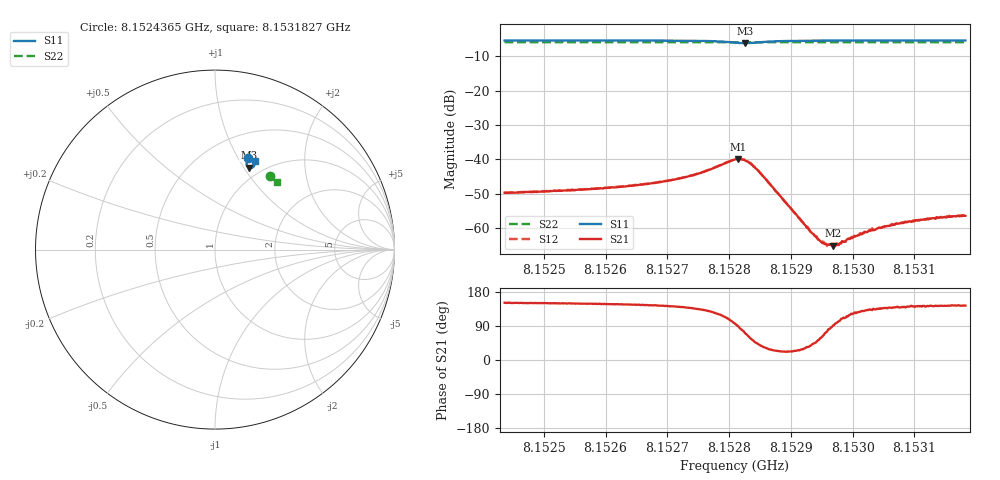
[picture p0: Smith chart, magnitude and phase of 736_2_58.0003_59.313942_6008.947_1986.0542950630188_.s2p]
#  HZ  S  RI  R  50.00
! Rohde & Schwarz Vector Network Analyzer
! Rohde-Schwarz,ZNB20-2Port,1311601062101988,3.16
! Created: UTC 3/21/2024, 1:23:17 AM
! freq[Hz]  re:S11  im:S11  re:S21  im:S21  re:S12  im:S12  re:S22  im:S22
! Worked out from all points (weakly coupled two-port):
!   401 points, 8.1524365 GHz to 8.1531827 GHz, reference 50 ohm
!   highest |S21| = -39.92 dB at 8.1528152 GHz (marker M1); lowest = -65.2 dB at 8.1529682 GHz (marker M2)
!   lowest |S11| = -6.1 dB at 8.1528264 GHz (marker M3), VSWR 2.95, Z = 43.6 + j52.6 ohm
!   |S11| at or under -10 dB: nowhere
!   |S22| runs from -5.9 to -5.8 dB; largest |S21 - S12| = 0.00039
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8.15243653e9  0.1849 0.5076  -0.00285 0.00158  -0.00284 0.00164  0.3074 0.4085
8.15256151e9  0.1949 0.5038  -0.00307 0.00187  -0.00308 0.00194  0.3136 0.4033
8.15268648e9  0.2071 0.4974  -0.00371 0.00274  -0.00372 0.00286  0.3198 0.3983
8.15275177e9  0.2162 0.488  -0.00434 0.0045  -0.00433 0.00459  0.323 0.3952
8.1528096e9  0.2088 0.457  -0.00108 0.00993  -0.000787 0.00989  0.3251 0.392
8.15281519e9  0.2027 0.4546  0.000301 0.0101  0.000571 0.01  0.3252 0.3919
8.15282639e9  0.1882 0.4561  0.00328 0.00897  0.00339 0.00901  0.3251 0.3915
8.15283385e9  0.1807 0.4623  0.00459 0.00747  0.00478 0.00746  0.3253 0.3917
8.15284504e9  0.1761 0.4739  0.00511 0.00502  0.0052 0.00491  0.3259 0.3916
8.15293458e9  0.1995 0.4981  0.000625 0.000555  0.00064 0.000534  0.3312 0.3885
8.15294763e9  0.2017 0.4981  0.000337 0.000544  0.000351 0.00054  0.3318 0.388
8.1529551e9  0.2029 0.498  0.000192 0.00055  0.000235 0.000535  0.3322 0.3876
8.15296069e9  0.2037 0.4981  8.99e-05 0.00056  0.000105 0.000561  0.3323 0.3874
8.15296815e9  0.2047 0.4979  -5.37e-06 0.000548  3.12e-05 0.000585  0.3328 0.387
8.15297561e9  0.2057 0.4978  -9.8e-05 0.000581  -9.59e-05 0.000582  0.3331 0.3867
8.15298494e9  0.2069 0.4976  -0.000235 0.000585  -0.00021 0.000596  0.3337 0.3864
8.15299427e9  0.208 0.4973  -0.000327 0.000605  -0.000308 0.000634  0.3342 0.3859
8.15302225e9  0.2111 0.4966  -0.00057 0.000649  -0.000558 0.000673  0.3356 0.3849
8.15305955e9  0.2147 0.4957  -0.000802 0.00071  -0.000813 0.000717  0.3371 0.3831
8.153095e9  0.2179 0.4946  -0.00098 0.000734  -0.000975 0.000786  0.3389 0.3816
8.1531323e9  0.2211 0.4935  -0.0011 0.000856  -0.00111 0.000866  0.3408 0.38
8.15318267e9  0.2249 0.4921  -0.00121 0.000892  -0.00125 0.000905  0.3431 0.3778
